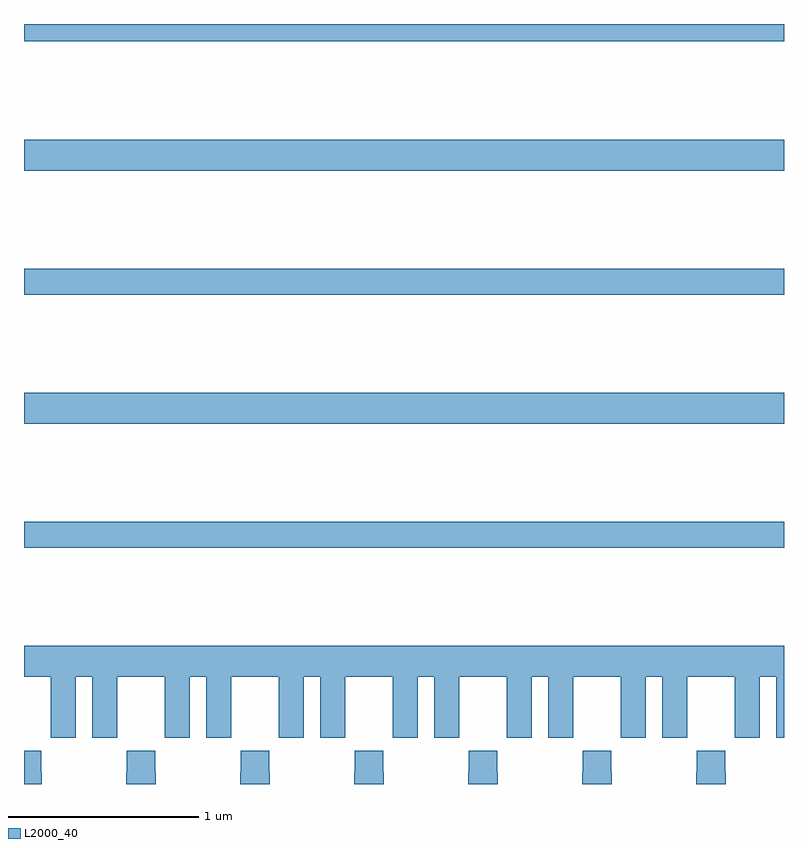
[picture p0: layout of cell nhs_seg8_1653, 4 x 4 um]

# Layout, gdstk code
import gdstk
lib = gdstk.Library(unit=1e-6, precision=1e-09)
def R(c, l, rs):  # rectangles x0, y0, x1, y1
    for r in rs: c.add(gdstk.rectangle(r[:2], r[2:], *l))
def P(c, l, *ps):  # polygons
    for p in ps: c.add(gdstk.Polygon(p, *l))
L2000_40 = (2000, 40)

nhs_seg8_1653 = lib.new_cell('nhs_seg8_1653')
R(nhs_seg8_1653, L2000_40, [(215,1153.144,219,1153.28), (215,1153.796,219,1153.96), (215,1154.476,219,1154.612), (215,1155.128,219,1155.292), (215,1155.808,219,1155.9)])
P(nhs_seg8_1653, L2000_40, [(215.272,1152.464),(215.36,1152.464),(215.36,1152.144),(215.49,1152.144),(215.49,1152.256),(215.491,1152.256),(215.491,1152.464),(215.741,1152.464),(215.741,1152.256),(215.742,1152.256),(215.742,1152.144),(215.872,1152.144),(215.872,1152.464),(215.96,1152.464),(215.96,1152.144),(216.09,1152.144),(216.09,1152.256),(216.091,1152.256),(216.091,1152.464),(216.341,1152.464),(216.341,1152.256),(216.342,1152.256),(216.342,1152.144),(216.472,1152.144),(216.472,1152.464),(216.56,1152.464),(216.56,1152.144),(216.69,1152.144),(216.69,1152.256),(216.691,1152.256),(216.691,1152.464),(216.941,1152.464),(216.941,1152.256),(216.942,1152.256),(216.942,1152.144),(217.072,1152.144),(217.072,1152.464),(217.16,1152.464),(217.16,1152.144),(217.29,1152.144),(217.29,1152.256),(217.291,1152.256),(217.291,1152.464),(217.541,1152.464),(217.541,1152.256),(217.542,1152.256),(217.542,1152.144),(217.672,1152.144),(217.672,1152.464),(217.76,1152.464),(217.76,1152.144),(217.89,1152.144),(217.89,1152.256),(217.891,1152.256),(217.891,1152.464),(218.141,1152.464),(218.141,1152.256),(218.142,1152.256),(218.142,1152.144),(218.272,1152.144),(218.272,1152.464),(218.36,1152.464),(218.36,1152.144),(218.49,1152.144),(218.49,1152.256),(218.491,1152.256),(218.491,1152.464),(218.741,1152.464),(218.741,1152.256),(218.742,1152.256),(218.742,1152.144),(218.872,1152.144),(218.872,1152.464),(218.96,1152.464),(218.96,1152.144),(219,1152.144),(219,1152.628),(215,1152.628),(215,1152.464),(215.141,1152.464),(215.141,1152.256),(215.142,1152.256),(215.142,1152.144),(215.272,1152.144)],
  [(218.694,1151.963),(218.691,1151.963),(218.691,1152.076),(218.541,1152.076),(218.541,1151.963),(218.539,1151.963),(218.539,1151.9),(218.694,1151.9)],
  [(218.094,1151.963),(218.091,1151.963),(218.091,1152.076),(217.941,1152.076),(217.941,1151.963),(217.939,1151.963),(217.939,1151.9),(218.094,1151.9)],
  [(217.494,1151.963),(217.491,1151.963),(217.491,1152.076),(217.341,1152.076),(217.341,1151.963),(217.339,1151.963),(217.339,1151.9),(217.494,1151.9)],
  [(216.894,1151.963),(216.891,1151.963),(216.891,1152.076),(216.741,1152.076),(216.741,1151.963),(216.739,1151.963),(216.739,1151.9),(216.894,1151.9)],
  [(216.294,1151.963),(216.291,1151.963),(216.291,1152.076),(216.141,1152.076),(216.141,1151.963),(216.139,1151.963),(216.139,1151.9),(216.294,1151.9)],
  [(215.694,1151.963),(215.691,1151.963),(215.691,1152.076),(215.541,1152.076),(215.541,1151.963),(215.539,1151.963),(215.539,1151.9),(215.694,1151.9)],
  [(215.094,1151.963),(215.091,1151.963),(215.091,1152.076),(215,1152.076),(215,1151.9),(215.094,1151.9)])

lib.write_gds('nhs_seg8_1653.gds')
